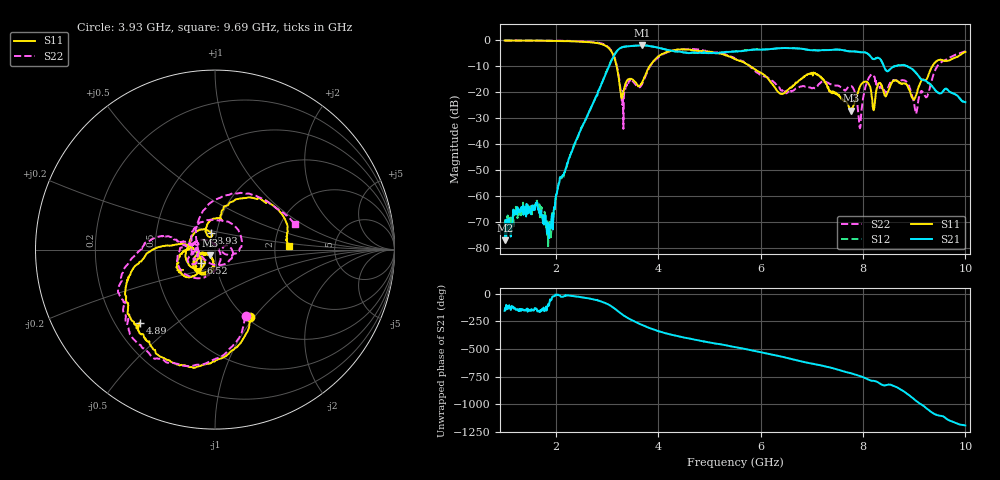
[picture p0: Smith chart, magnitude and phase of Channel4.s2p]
!Agilent Technologies,N5227A,US51270477,A.10.00.00
!File generated by LCAF-GAM-UPV software
!josevmart@iteam.upv.es
!S2P File: Measurements: S11, S21, S12, S22:
# Hz S  dB  R 50
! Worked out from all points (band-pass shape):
!   901 points, 1 GHz to 10 GHz, reference 50 ohm
!   highest |S21| = -1.89 dB at 3.69 GHz (marker M1); lowest = -77.2 dB at 1.01 GHz (marker M2)
!   |S21| within 3 dB of the highest: 3.165 GHz to 4.588 GHz (1.423 GHz wide, 36.7 % of centre); 5.172 GHz to 8.074 GHz (2.902 GHz wide, 43.8 % of centre)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
!   lowest |S11| = -27.1 dB at 7.76 GHz (marker M3), VSWR 1.09, Z = 47.1 - j3.09 ohm
!   |S11| at or under -10 dB: 3.189 GHz to 3.832 GHz (643.1 MHz wide, 18.3 % of centre); 5.804 GHz to 9.352 GHz (3.548 GHz wide, 46.8 % of centre)
!   |S22| runs from -34.2 to 0.0 dB; largest |S21 - S12| = 0.095
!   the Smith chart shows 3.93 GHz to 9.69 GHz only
!   S11 on the Smith chart (normalised r, x): 3.93 GHz: 1.05, -0.95; 4.89 GHz: 0.30, -0.37; 6.52 GHz: 0.85, -0.13; 8.93 GHz: 0.94, +0.17; 9.69 GHz: 2.40, +0.12
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1e9  -0.02 -37.5  -72.03 -154.1  -71.92 -140.3  -0.00 -37.7
1.01e9  -0.02 -38.0  -77.25 -126.7  -68.85 -146.1  0.00 -38.2
1.62e9  -0.09 -61.5  -63.61 -133.0  -62.27 -140.6  -0.03 -62.6
1.87e9  -0.14 -72.7  -76.40 -98.3  -72.02 -101.3  -0.06 -73.2
2.5e9  -0.47 -106.1  -33.94 -30.7  -33.58 -32.4  -0.33 -108.8
3.08e9  -4.04 -174.7  -8.11 -110.8  -7.90 -114.6  -3.84 179.1
3.31e9  -21.04 -128.8  -2.53 168.6  -2.54 171.4  -19.48 -128.1
3.69e9  -16.13 -64.8  -1.89 77.5  -1.87 77.6  -16.67 -68.6
3.93e9  -7.52 -62.4  -2.51 33.7  -2.49 34.3  -7.77 -65.4
4e9  -6.18 -68.4  -2.81 22.9  -2.78 23.3  -6.62 -70.7
4.89e9  -4.67 -135.9  -4.45 -73.8  -4.52 -72.5  -4.19 -141.3
5.5e9  -7.23 -169.5  -4.29 -122.4  -4.20 -123.7  -6.97 -175.7
6.52e9  -19.27 -135.8  -2.95 139.0  -2.89 138.6  -20.22 -169.2
7e9  -12.48 -147.8  -3.80 88.9  -3.73 88.7  -18.48 -154.0
7.76e9  -27.13 -131.8  -4.23 1.1  -4.22 1.8  -17.71 178.1
7.94e9  -17.92 -99.8  -4.54 -24.5  -4.48 -25.1  -33.92 28.1
8.14e9  -17.84 -157.5  -6.01 -62.9  -5.99 -62.7  -13.68 -134.7
8.5e9  -19.33 -126.3  -11.67 -101.3  -11.62 -101.1  -17.78 161.8
8.93e9  -20.55 102.8  -10.71 151.7  -10.69 151.9  -19.65 -12.6
9.04e9  -20.93 118.8  -12.63 110.2  -12.59 110.0  -28.34 2.5
9.69e9  -7.68 2.9  -19.79 -66.8  -19.76 -66.6  -6.62 17.7
1e10  -4.44 -22.5  -23.86 -111.8  -23.98 -112.6  -4.19 -26.6
